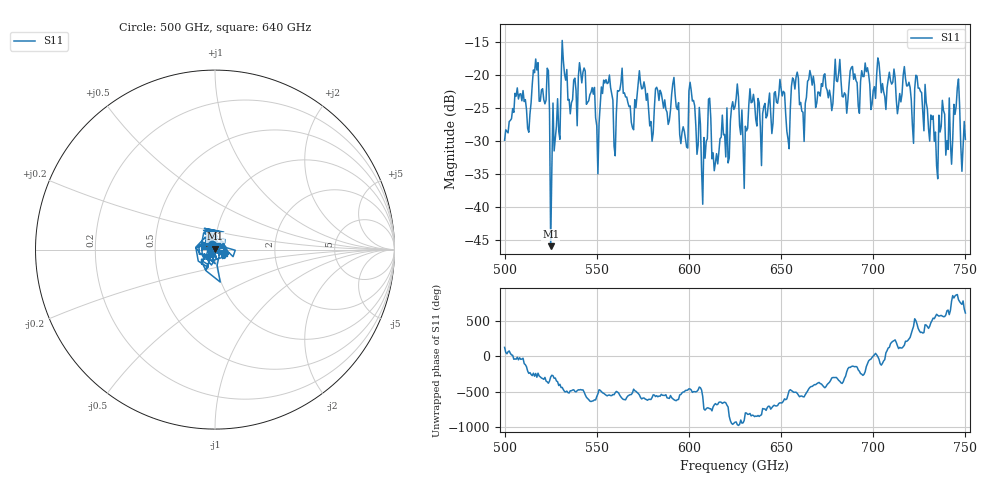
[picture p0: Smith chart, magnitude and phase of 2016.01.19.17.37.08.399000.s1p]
!Created with skrf (http://scikit-rf.org).
# GHz S RI R 50.0
!freq ReS11 ImS11
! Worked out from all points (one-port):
!   401 points, 500 GHz to 750 GHz, reference 50 ohm
!   lowest |S11| = -46.0 dB at 525 GHz (marker M1), VSWR 1.01, Z = 50.2 + j0.463 ohm
!   |S11| at or under -10 dB: start of sweep to end of sweep
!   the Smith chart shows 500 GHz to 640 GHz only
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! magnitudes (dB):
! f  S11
! 500 GHz  -29.9
! 513.1 GHz  -28.7
! 516.9 GHz  -17.6
! 525 GHz  -46.0
! 526.2 GHz  -24.3
! 531.2 GHz  -14.7
! 541.9 GHz  -21.2
! 550.6 GHz  -35.0
! 553.8 GHz  -20.8
! 559.4 GHz  -30.8
! 562.5 GHz  -22.3
! 593.8 GHz  -25.2
! 598.1 GHz  -29.7
! 601.2 GHz  -22.4
! 608.1 GHz  -29.5
! 610.6 GHz  -23.7
! 615 GHz  -31.9
! 625 GHz  -24.8
! 630.6 GHz  -27.8
! 633.8 GHz  -24.2
! 650.6 GHz  -23.2
! 653.8 GHz  -29.7
! 656.2 GHz  -20.4
! 687.5 GHz  -19.4
! 718.8 GHz  -21.6
! 733.8 GHz  -28.7
! 745 GHz  -24.7
! 750 GHz  -29.8
